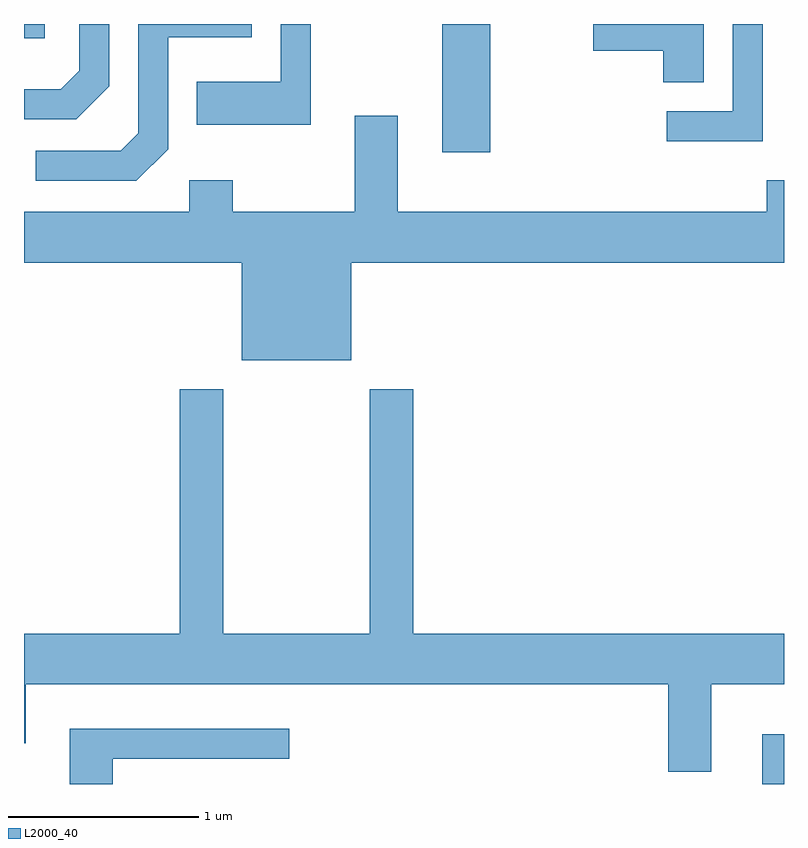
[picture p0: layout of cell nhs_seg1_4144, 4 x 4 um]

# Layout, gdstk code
import gdstk
lib = gdstk.Library(unit=1e-6, precision=1e-09)
def R(c, l, rs):  # rectangles x0, y0, x1, y1
    for r in rs: c.add(gdstk.rectangle(r[:2], r[2:], *l))
def P(c, l, *ps):  # polygons
    for p in ps: c.add(gdstk.Polygon(p, *l))
L2000_40 = (2000, 40)

nhs_seg1_4144 = lib.new_cell('nhs_seg1_4144')
R(nhs_seg1_4144, L2000_40, [(313.496,905.712,313.611,905.973), (311.811,909.036,312.064,909.712), (309.611,909.636,309.719,909.712)])
P(nhs_seg1_4144, L2000_40, [(310.369,909.054),(310.369,909.641),(310.809,909.641),(310.809,909.712),(310.211,909.712),(310.211,909.137),(310.119,909.044),(309.673,909.044),(309.673,908.886),(310.202,908.886)],
  [(310.059,909.384),(310.059,909.712),(309.901,909.712),(309.901,909.467),(309.804,909.369),(309.611,909.369),(309.611,909.211),(309.887,909.211)],
  [(311.119,909.712),(310.961,909.712),(310.961,909.409),(310.521,909.409),(310.521,909.181),(311.119,909.181)],
  [(313.189,909.712),(312.606,909.712),(312.606,909.571),(312.976,909.571),(312.976,909.406),(313.189,909.406)],
  [(313.499,909.712),(313.341,909.712),(313.341,909.254),(312.993,909.254),(312.993,909.096),(313.499,909.096)],
  [(311.334,908.456),(313.611,908.456),(313.611,908.889),(313.521,908.889),(313.521,908.724),(311.579,908.724),(311.579,909.229),(311.351,909.229),(311.351,908.724),(310.709,908.724),(310.709,908.889),(310.481,908.889),(310.481,908.724),(309.611,908.724),(309.611,908.456),(310.756,908.456),(310.756,907.941),(311.334,907.941)],
  [(313.229,906.236),(313.611,906.236),(313.611,906.504),(311.659,906.504),(311.659,907.789),(311.431,907.789),(311.431,906.504),(310.659,906.504),(310.659,907.789),(310.431,907.789),(310.431,906.504),(309.611,906.504),(309.611,905.926),(309.619,905.926),(309.619,906.236),(313.001,906.236),(313.001,905.776),(313.229,905.776)],
  [(310.079,905.846),(311.008,905.846),(311.008,906.004),(309.851,906.004),(309.851,905.712),(310.079,905.712)])

lib.write_gds('nhs_seg1_4144.gds')
